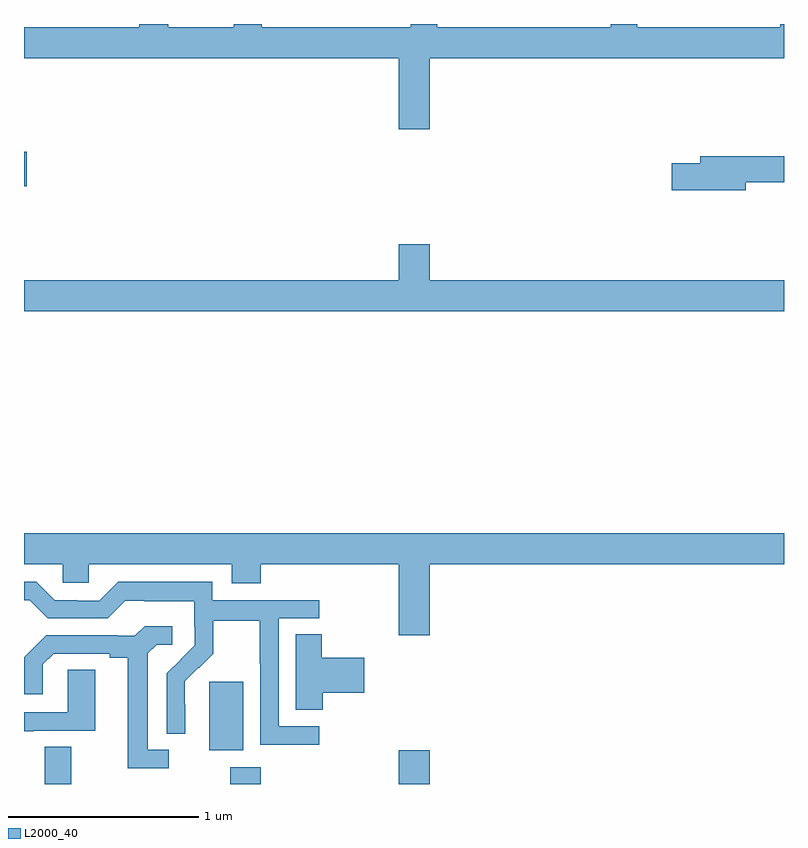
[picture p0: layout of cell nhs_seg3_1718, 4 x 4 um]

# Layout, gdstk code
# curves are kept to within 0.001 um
import gdstk
lib = gdstk.Library(unit=1e-6, precision=1e-09)
def R(c, l, rs):  # rectangles x0, y0, x1, y1
    for r in rs: c.add(gdstk.rectangle(r[:2], r[2:], *l))
def P(c, l, *ps):  # polygons
    for p in ps: c.add(gdstk.Polygon(p, *l))
L2000_40 = (2000, 40)

nhs_seg3_1718 = lib.new_cell('nhs_seg3_1718')
R(nhs_seg3_1718, L2000_40, [(199.109,726.4,199.249,726.596), (200.086,726.4,200.246,726.487), (200.972,726.4,201.136,726.577), (199.976,726.578,200.155,726.939), (199,729.545,199.015,729.728)])
P(nhs_seg3_1718, L2000_40, [(201.136,730.22),(203,730.22),(203,730.4),(202.979,730.4),(202.979,730.384),(202.227,730.384),(202.227,730.4),(202.089,730.4),(202.089,730.384),(201.175,730.384),(201.175,730.4),(201.035,730.4),(201.035,730.384),(200.251,730.384),(200.251,730.4),(200.104,730.4),(200.104,730.384),(199.759,730.384),(199.759,730.4),(199.607,730.4),(199.607,730.384),(199,730.384),(199,730.22),(200.972,730.22),(200.972,729.846),(201.136,729.846)],
  [(202.798,729.568),(203,729.568),(203,729.704),(202.559,729.704),(202.559,729.668),(202.41,729.668),(202.41,729.526),(202.798,729.526)],
  [(203,729.052),(201.136,729.052),(201.136,729.241),(200.972,729.241),(200.972,729.052),(199,729.052),(199,728.888),(203,728.888)],
  [(199,727.556),(199.203,727.556),(199.203,727.458),(199.341,727.458),(199.341,727.556),(200.093,727.556),(200.093,727.457),(200.246,727.457),(200.246,727.556),(200.972,727.556),(200.972,727.182),(201.136,727.182),(201.136,727.556),(203,727.556),(203,727.72),(199,727.72)],
  [(200.554,726.705),(200.34,726.705),(200.34,727.272),(200.554,727.272),(200.554,727.368),(199.992,727.368),(199.992,727.465),(199.495,727.465),(199.395,727.365),(199.28,727.365),(199.28,727.368),(199.161,727.368),(199.065,727.464),(199,727.464),(199,727.368),(199.029,727.368),(199.125,727.272),(199.44,727.272),(199.533,727.365),(199.633,727.365),(199.633,727.361),(199.896,727.361),(199.896,727.227),(199.898,727.227),(199.898,727.13),(199.752,726.982),(199.752,726.664),(199.848,726.664),(199.847,726.941),(199.917,727.011),(199.92,727.008),(199.997,727.085),(199.997,727.26),(200.242,727.26),(200.242,727.036),(200.244,727.036),(200.244,726.607),(200.554,726.607)],
  [(199.762,726.579),(199.651,726.579),(199.651,727.087),(199.698,727.134),(199.78,727.134),(199.78,727.231),(199.636,727.231),(199.584,727.179),(199.49,727.179),(199.49,727.182),(199.118,727.182),(199.002,727.066),(199.002,726.873),(199.099,726.873),(199.099,727.029),(199.156,727.086),(199.451,727.086),(199.451,727.064),(199.547,727.064),(199.547,726.483),(199.762,726.483)],
  [(200.573,726.881),(200.791,726.881),(200.791,727.064),(200.568,727.064),(200.568,727.187),(200.429,727.187),(200.429,726.79),(200.573,726.79)],
  [(199.051,726.681),(199.375,726.681),(199.375,727.001),(199.23,727.001),(199.23,726.777),(199,726.777),(199,726.677),(199.051,726.677)])

lib.write_gds('nhs_seg3_1718.gds')
